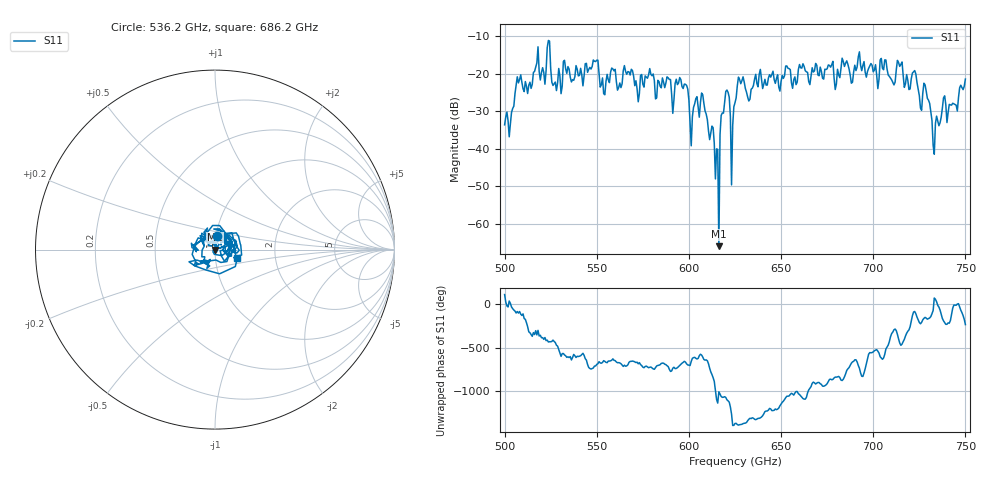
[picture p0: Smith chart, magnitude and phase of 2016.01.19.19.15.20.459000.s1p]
!Created with skrf (http://scikit-rf.org).
# GHz S RI R 50.0
!freq ReS11 ImS11
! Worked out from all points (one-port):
!   401 points, 500 GHz to 750 GHz, reference 50 ohm
!   lowest |S11| = -66.0 dB at 616.2 GHz (marker M1), VSWR 1.00, Z = 50 + j0.0485 ohm
!   |S11| at or under -10 dB: start of sweep to end of sweep
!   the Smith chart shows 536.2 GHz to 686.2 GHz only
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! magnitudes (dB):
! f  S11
! 500 GHz  -33.7
! 503.8 GHz  -30.4
! 507.5 GHz  -22.5
! 523.8 GHz  -11.2
! 526.9 GHz  -22.7
! 531.2 GHz  -23.4
! 549.4 GHz  -16.8
! 553.1 GHz  -21.2
! 558.8 GHz  -18.8
! 562.5 GHz  -22.5
! 593.8 GHz  -23.0
! 598.8 GHz  -23.2
! 601.2 GHz  -39.3
! 607.5 GHz  -25.6
! 614.4 GHz  -48.1
! 615 GHz  -40.1
! 616.2 GHz  -66.0
! 620 GHz  -24.8
! 623.8 GHz  -33.8
! 625 GHz  -27.8
! 628.1 GHz  -22.7
! 656.2 GHz  -24.0
! 687.5 GHz  -20.4
! 714.4 GHz  -18.1
! 718.8 GHz  -21.8
! 728.8 GHz  -24.7
! 733.8 GHz  -33.3
! 750 GHz  -21.5
